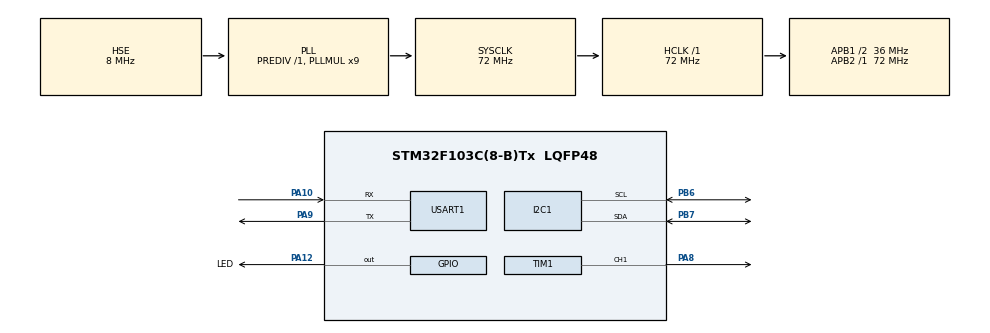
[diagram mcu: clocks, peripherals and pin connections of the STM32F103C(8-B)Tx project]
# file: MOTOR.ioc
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Dma.Request0=USART1_RX
Dma.Request1=USART1_TX
Dma.USART1_RX.0.Direction=DMA_PERIPH_TO_MEMORY
Dma.USART1_RX.0.Instance=DMA1_Channel5
Dma.USART1_RX.0.MemDataAlignment=DMA_MDATAALIGN_BYTE
Dma.USART1_RX.0.MemInc=DMA_MINC_ENABLE
Dma.USART1_RX.0.Mode=DMA_NORMAL
Dma.USART1_RX.0.PeriphDataAlignment=DMA_PDATAALIGN_BYTE
Dma.USART1_RX.0.PeriphInc=DMA_PINC_DISABLE
Dma.USART1_RX.0.Priority=DMA_PRIORITY_LOW
Dma.USART1_TX.1.Direction=DMA_MEMORY_TO_PERIPH
Dma.USART1_TX.1.Instance=DMA1_Channel4
Dma.USART1_TX.1.MemDataAlignment=DMA_MDATAALIGN_BYTE
Dma.USART1_TX.1.MemInc=DMA_MINC_ENABLE
Dma.USART1_TX.1.Mode=DMA_NORMAL
Dma.USART1_TX.1.PeriphDataAlignment=DMA_PDATAALIGN_BYTE
Dma.USART1_TX.1.PeriphInc=DMA_PINC_DISABLE
Dma.USART1_TX.1.Priority=DMA_PRIORITY_LOW
Mcu.Family=STM32F1
Mcu.Name=STM32F103C(8-B)Tx
Mcu.Package=LQFP48
NVIC.DMA1_Channel4_IRQn=true\:0\:0\:false\:false\:true\:false\:true
NVIC.DMA1_Channel5_IRQn=true\:0\:0\:false\:false\:true\:false\:true
NVIC.PriorityGroup=NVIC_PRIORITYGROUP_4
NVIC.USART1_IRQn=true\:0\:0\:false\:false\:true\:true\:true
PA10.Mode=Asynchronous
PA10.Signal=USART1_RX
PA12.GPIO_Label=LED
PA12.GPIO_ModeDefaultOutputPP=GPIO_MODE_OUTPUT_PP
PA12.GPIO_PuPd=GPIO_NOPULL
PA12.Signal=GPIO_Output
PA13.Mode=Serial_Wire
PA13.Signal=SYS_JTMS-SWDIO
PA14.Mode=Serial_Wire
PA14.Signal=SYS_JTCK-SWCLK
PA8.Signal=S_TIM1_CH1
PA9.Mode=Asynchronous
PA9.Signal=USART1_TX
PB6.Mode=I2C
PB6.Signal=I2C1_SCL
PB7.Mode=I2C
PB7.Signal=I2C1_SDA
PD0-OSC_IN.Mode=HSE-External-Oscillator
PD0-OSC_IN.Signal=RCC_OSC_IN
PD1-OSC_OUT.Mode=HSE-External-Oscillator
PD1-OSC_OUT.Signal=RCC_OSC_OUT
ProjectManager.HeapSize=0x200
ProjectManager.StackSize=0x400
ProjectManager.TargetToolchain=MDK-ARM V5
RCC.AHBFreq_Value=72000000
RCC.APB1CLKDivider=RCC_HCLK_DIV2
RCC.APB1Freq_Value=36000000
RCC.APB1TimFreq_Value=72000000
RCC.APB2Freq_Value=72000000
RCC.APB2TimFreq_Value=72000000
RCC.HCLKFreq_Value=72000000
RCC.PLLMUL=RCC_PLL_MUL9
RCC.PLLSourceVirtual=RCC_PLLSOURCE_HSE
RCC.SYSCLKFreq_VALUE=72000000
RCC.SYSCLKSource=RCC_SYSCLKSOURCE_PLLCLK
RCC.USBFreq_Value=72000000
SH.S_TIM1_CH1.0=TIM1_CH1,PWM Generation1 CH1
TIM1.Channel-PWM\ Generation1\ CH1=TIM_CHANNEL_1
TIM1.Period=19999
TIM1.Prescaler=71
USART1.VirtualMode=VM_ASYNC
board=custom

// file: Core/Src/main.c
/* USER CODE BEGIN Header */
/**
  ******************************************************************************
  * @file           : main.c
  * @brief          : Main program body
  ******************************************************************************
  * @attention
  *
  * Copyright (c) 2022 STMicroelectronics.
  * All rights reserved.
  *
  * This software is licensed under terms that can be found in the LICENSE file
  * in the root directory of this software component.
  * If no LICENSE file comes with this software, it is provided AS-IS.
  *
  ******************************************************************************
  */
/* USER CODE END Header */
#include "main.h"
#include "dma.h"
#include "i2c.h"
#include "tim.h"
#include "usart.h"
#include "gpio.h"

/* USER CODE BEGIN Includes */
#include <string.h>
/* USER CODE END Includes */

/* USER CODE BEGIN PV */

//CRC variable
int a = 0;
uint8_t CRC_j = 0, CRC_i = 0 ;
uint16_t crc = 0xFFFF, CRC16 = 0 ;

uint8_t USART1_MOTOR_ONE[]      = {0x02,0x01,0x00,0x00,0x00,0x00,0x39,0x3C};
uint8_t USART1_MOTOR_START[]    = {0x02,0x02,0x00,0x00,0x00,0x00,0x39,0x78};
uint8_t USART1_MOTOR_STOP[]     = {0x02,0x03,0x00,0x00,0x00,0x00,0xF9,0x45};

uint8_t USART1_MOTOR_OK[]       = {0x02,0x52,0x49};
uint8_t USART1_MOTOR_CRCERROR[]  = {0x02,0x43,0x52,0x43,0x45,0x52};
/* USER CODE END PV */

void SystemClock_Config(void);

int main(void)
{

  /* MCU Configuration--------------------------------------------------------*/

  /* Reset of all peripherals, Initializes the Flash interface and the Systick. */
  HAL_Init();

  /* Configure the system clock */
  SystemClock_Config();

  /* Initialize all configured peripherals */
  MX_GPIO_Init();
  MX_I2C1_Init();
  MX_DMA_Init();
  MX_USART1_UART_Init();
  MX_TIM1_Init();
  /* USER CODE BEGIN 2 */

  //Enable the DMA
  HAL_UART_Receive_DMA(&huart1,USART_RX1_BUFFER,RX1BUFFERSIZE);

  HAL_TIM_PWM_Start(&htim1,TIM_CHANNEL_1);
  __HAL_TIM_SET_COMPARE(&htim1,TIM_CHANNEL_1,800);
  HAL_Delay(1000);
  __HAL_TIM_SET_COMPARE(&htim1,TIM_CHANNEL_1,2200);
  HAL_Delay(1000);
  /* USER CODE END 2 */

  /* Infinite loop */
  /* USER CODE BEGIN WHILE */
  while (1)
  {
    HAL_GPIO_TogglePin(GPIOA,LED_Pin);
    HAL_Delay(50);

    if (memcmp(DATA_CHACE1,USART1_MOTOR_ONE,6) == RESET)
    {
      CRC16 = ModBus_CRC16(DATA_CHACE1,6);
      if (DATA_CHACE1[7]==(uint8_t)CRC16&0xFF && DATA_CHACE1[6]==(uint8_t)(CRC16>>8)&0xFF)
      {
        CRC16 = 0;

        __HAL_TIM_SET_COMPARE(&htim1,TIM_CHANNEL_1,800);
        HAL_Delay(600);
        __HAL_TIM_SET_COMPARE(&htim1,TIM_CHANNEL_1,2200);
        HAL_Delay(600);

        HAL_UART_Transmit(&huart1,USART1_MOTOR_OK,sizeof(USART1_MOTOR_OK),0xFFFF);
        memset(DATA_CHACE1,0,RX1BUFFERSIZE);

      }

      else
      {
        HAL_UART_Transmit(&huart1,USART1_MOTOR_CRCERROR,sizeof(USART1_MOTOR_CRCERROR),0xFFFF);
        memset(DATA_CHACE1,0,RX1BUFFERSIZE);
      }

    }

    else if (memcmp(DATA_CHACE1,USART1_MOTOR_START,sizeof(USART1_MOTOR_START)) == RESET)
    {
      CRC16 = ModBus_CRC16(DATA_CHACE1,6);
      if (DATA_CHACE1[7]==(uint8_t)CRC16&0xFF && DATA_CHACE1[6]==(uint8_t)(CRC16>>8)&0xFF)
      {
        CRC16 = 0;
        a = 1;
        HAL_UART_Transmit(&huart1,USART1_MOTOR_OK,sizeof(USART1_MOTOR_OK),0xFFFF);
        memset(DATA_CHACE1,0,RX1BUFFERSIZE);

      }

      else
      {
        HAL_UART_Transmit(&huart1,USART1_MOTOR_CRCERROR,sizeof(USART1_MOTOR_CRCERROR),0xFFFF);
        memset(DATA_CHACE1,0,RX1BUFFERSIZE);
      }

    }

    else if (memcmp(DATA_CHACE1,USART1_MOTOR_STOP,sizeof(USART1_MOTOR_STOP)) == RESET)
    {
      CRC16 = ModBus_CRC16(DATA_CHACE1,6);
      if (DATA_CHACE1[7]==(uint8_t)CRC16&0xFF && DATA_CHACE1[6]==(uint8_t)(CRC16>>8)&0xFF)
      {
        CRC16 = 0;
        a = 0;
        HAL_UART_Transmit(&huart1,USART1_MOTOR_OK,sizeof(USART1_MOTOR_OK),0xFFFF);
        memset(DATA_CHACE1,0,RX1BUFFERSIZE);

      }

      else
      {
        HAL_UART_Transmit(&huart1,USART1_MOTOR_CRCERROR,sizeof(USART1_MOTOR_CRCERROR),0xFFFF);
        memset(DATA_CHACE1,0,RX1BUFFERSIZE);
      }

    }

    if (a == 1)
    {
        __HAL_TIM_SET_COMPARE(&htim1,TIM_CHANNEL_1,800);
        HAL_Delay(600);
        __HAL_TIM_SET_COMPARE(&htim1,TIM_CHANNEL_1,2200);
        HAL_Delay(600);
    }

    /* USER CODE END WHILE */

  }
}

void SystemClock_Config(void)
{
  RCC_OscInitTypeDef RCC_OscInitStruct = {0};
  RCC_ClkInitTypeDef RCC_ClkInitStruct = {0};

  /** Initializes the RCC Oscillators according to the specified parameters
  * in the RCC_OscInitTypeDef structure.
  */
  RCC_OscInitStruct.OscillatorType = RCC_OSCILLATORTYPE_HSE;
  RCC_OscInitStruct.HSEState = RCC_HSE_ON;
  RCC_OscInitStruct.HSEPredivValue = RCC_HSE_PREDIV_DIV1;
  RCC_OscInitStruct.HSIState = RCC_HSI_ON;
  RCC_OscInitStruct.PLL.PLLState = RCC_PLL_ON;
  RCC_OscInitStruct.PLL.PLLSource = RCC_PLLSOURCE_HSE;
  RCC_OscInitStruct.PLL.PLLMUL = RCC_PLL_MUL9;
  if (HAL_RCC_OscConfig(&RCC_OscInitStruct) != HAL_OK)
  {
    Error_Handler();
  }
  /** Initializes the CPU, AHB and APB buses clocks
  */
  RCC_ClkInitStruct.ClockType = RCC_CLOCKTYPE_HCLK|RCC_CLOCKTYPE_SYSCLK
                              |RCC_CLOCKTYPE_PCLK1|RCC_CLOCKTYPE_PCLK2;
  RCC_ClkInitStruct.SYSCLKSource = RCC_SYSCLKSOURCE_PLLCLK;
  RCC_ClkInitStruct.AHBCLKDivider = RCC_SYSCLK_DIV1;
  RCC_ClkInitStruct.APB1CLKDivider = RCC_HCLK_DIV2;
  RCC_ClkInitStruct.APB2CLKDivider = RCC_HCLK_DIV1;

  if (HAL_RCC_ClockConfig(&RCC_ClkInitStruct, FLASH_LATENCY_2) != HAL_OK)
  {
    Error_Handler();
  }
}

/* USER CODE BEGIN 4 */

/**
 * @brief CRC16 check code. The function is used for data verification when communicating with PC.
 *
 * @param pdata
 * @param len
 * @return uint16_t
 */
uint16_t ModBus_CRC16( uint8_t *pdata, int len)     //polynomial: 8005
{
  crc = 0xFFFF;
  for (CRC_j=0; CRC_j<len;CRC_j++)
  {
    crc = crc ^ pdata[CRC_j];
    for (CRC_i=0; CRC_i<8; CRC_i++)
    {
      if( (crc & 0x0001) >0)
      {
        crc = crc >> 1;
        crc = crc ^ 0xA001;                            //We take 8005 in reverse.
      }
    else
    crc = crc>>1;
    }
  }
return crc;
}

/* USER CODE END 4 */

void Error_Handler(void)
{
  __disable_irq();
  while (1)
  {
  }
}
